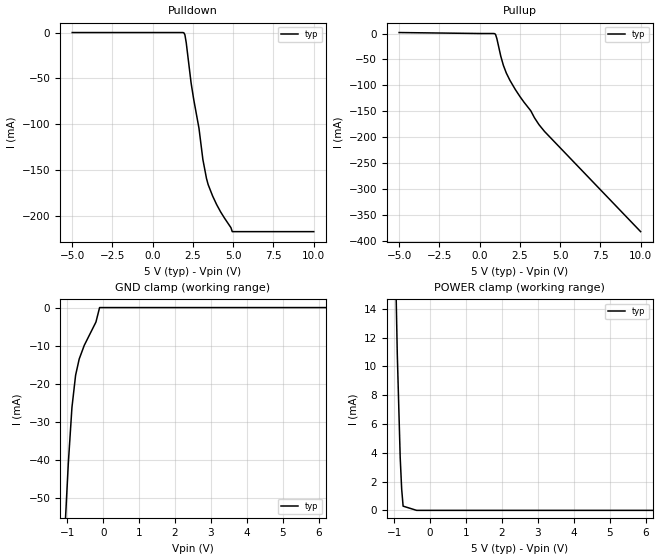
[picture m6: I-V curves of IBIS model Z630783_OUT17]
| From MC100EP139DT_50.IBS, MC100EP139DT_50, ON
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| (C) COPYRIGHT 1993-2000
| MENTOR GRAPHICS CORPORATION
| ICX STANDARD LIBRARY, ICX PROJECT MODELING,
| ICX CUSTOM MODELING, ICX VENDOR MODEL
| ALL RIGHTS RESERVED.
| THE FOLLOWING ARE TRADEMARKS OR SERVICE MARKS OF
| MENTOR GRAPHICS CORPORATION:ICX (R), ICX STANDARD
| LIBRARY(R), ICX PROJECT MODELING(R), ICX CUSTOM
| MODELING(R), qualityIBIS(TM), MODELVIEWER(TM),
| AND MODELEDITOR(TM)
| ALL COPIES OF SOFTWARE, INCLUDING BUT NOT LIMITED TO
| ANY MODIFICATIONS, ENHANCEMENTS OR DERIVATIVE WORKS,
| MUST CONTAIN ALL MENTOR GRAPHICS CORPORATION'S
| NOTICES AND LEGENDS, INCLUDING THOSE EMBEDDED IN
| SOFTWARE AND THOSE AFFIXED TO SOFTWARE MEDIUM
| AND CONTAINER, AS RECEIVED FROM MENTOR GRAPHICS
| CORPORATION.
| Model Application Version 1.89 2/18/99.
[Model] Z630783_OUT17
Model_type Output_ECL
Vref=3.000V
Rref=50.00ohms
Cref=0.000F
Vmeas=3.550V
C_comp 8.000pF NA NA
| variable typ   min   max
[Voltage Range] 5.000V NA NA
[POWER Clamp Reference] 5.000V NA NA
[Pullup Reference] 5.000V NA NA
[Pulldown Reference] 5.000V NA NA
[GND Clamp Reference] 0.000V NA NA
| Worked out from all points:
|   GND clamp passes 1 mA (typ) near -0.13 V on its own axis
|   POWER clamp passes 1 mA (typ) near -0.78 V on its own axis
[GND Clamp]
-5V       -931.7mA   NA         NA
-1.095V   -63.6mA    NA         NA
-973mV    -41mA      NA         NA
-872mV    -26.3mA    NA         NA
-770mV    -17.8mA    NA         NA
-669mV    -13.5mA    NA         NA
-527mV    -9.9mA     NA         NA
-203mV    -3.8mA     NA         NA
-101.5mV  0A         NA         NA
10V       0A         NA         NA
[Pulldown]
-5V       0A         NA         NA
1.939V    -400uA     NA         NA
2V        -2.6mA     NA         NA
2.081V    -11.2mA    NA         NA
2.385V    -55.4mA    NA         NA
2.872V    -104.6mA   NA         NA
3.115V    -138.8mA   NA         NA
3.338V    -159.4mA   NA         NA
3.44V     -166.1mA   NA         NA
3.966V    -187.9mA   NA         NA
4.939V    -217.6mA   NA         NA
10V       -217.6mA   NA         NA
[Pullup]
-5V       1.9mA      NA         NA
951mV     -600uA     NA         NA
992mV     -2mA       NA         NA
1.073V    -10mA      NA         NA
1.316V    -43.9mA    NA         NA
1.478V    -61.6mA    NA         NA
1.66V     -76.4mA    NA         NA
2.228V    -108.6mA   NA         NA
3.181V    -149.3mA   NA         NA
3.687V    -175.9mA   NA         NA
4.032V    -189.1mA   NA         NA
10V       -382.5mA   NA         NA
[POWER Clamp]
-5V       642.6mA    NA         NA
-1.056V   28.68mA    NA         NA
-914mV    10.83mA    NA         NA
-833mV    3.662mA    NA         NA
-792mV    1.477mA    NA         NA
-752mV    292.1uA    NA         NA
-376mV    0A         NA         NA
10V       0A         NA         NA
[Ramp]
| variable typ min max
dV/dt_r 381.2m/109.1p NA NA
dV/dt_f 381.2m/112.4p NA NA
R_load = 50.00Ohms
